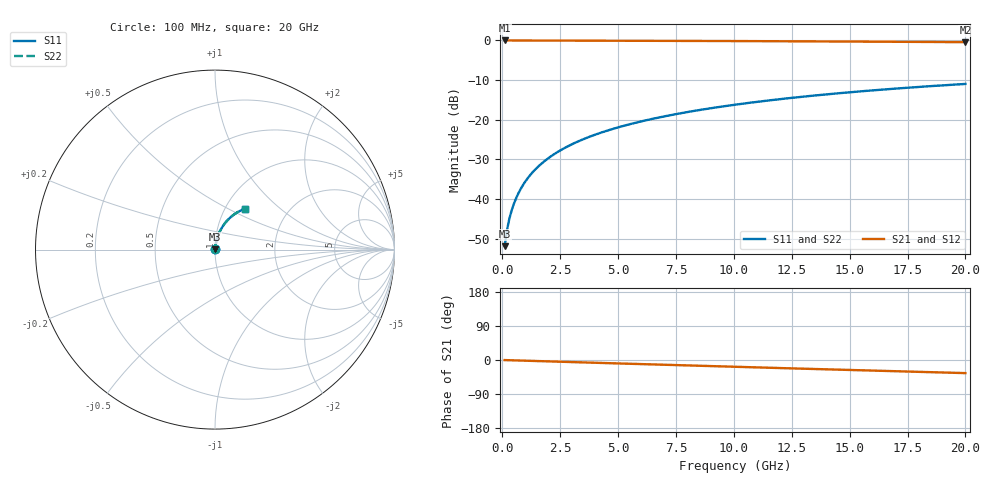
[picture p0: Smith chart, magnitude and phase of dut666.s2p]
! Touchstone file exported from HFSS 2026.1.0
!  File:  C:/ffzhzh/LocalFiles/Ansys_Project_Files/temp_train_TMRDL_666_1783009835_46388.aedt
!  Generated:  12:32:07 AM Jul  3, 2026
!  Design:  TMRDL
!  Project:  temp_train_TMRDL_666_1783009835_46388
! Variables:
!  h_bsmrdl = 2um
!  h_ox = 20um
!  h_rdl = 5um
!  h_sub = 80um
!  h_tmrdl = 4.71um
!  h_tsv = 80um
!  h_via = 3um
!  l_bsmrdl = 300um
!  l_sub = 918.51um
!  l_tmrdl = 518.51um
!  m_sub = 200um
!  pitch = 47.36um
!  r_tsv = 6um
!  s_tmrdl = 10um
!  w_bsmrdl = 18um
!  w_sub = 500um
!  w_tmrdl = 24.69um
!  x_tsv_center1 = 530.855um
!  x_tsv_center2 = 848.855um
!  x_tsv_center3 = 1392.055um
!  x_tsv_center4 = 1710.055um
!  x_tsv_center5 = 2253.255um
!  x_tsv_center6 = 2571.255um
# GHz S MA R 50.000000
! Terminal data exported
! Port[1] = TM_RDL1_1_T1
! Port[2] = TM_RDL1_1_T2
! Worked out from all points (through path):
!   200 points, 100 MHz to 20 GHz, reference 50 ohm
!   highest |S21| = -0.02 dB at 100 MHz (marker M1); lowest = -0.4 dB at 20 GHz (marker M2)
!   group delay of S21, straight-line fit = 4.8 ps
!   lowest |S11| = -51.9 dB at 100 MHz (marker M3), VSWR 1.01, Z = 50.2 + j0.184 ohm
!   |S11| at or under -10 dB: start of sweep to end of sweep
!   |S22| runs from -51.9 to -11.0 dB; largest |S21 - S12| = 2.1e-15
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0.1  0.002555 45.7  0.9982 -0.2  0.9982 -0.2  0.002555 45.7
! Gamma 0 0 0 0
! Port Impedance 50 0 50 0
0.2  0.004038 61.3  0.9981 -0.4  0.9981 -0.4  0.004038 61.3
0.3  0.005581 68.2  0.998 -0.6  0.998 -0.6  0.005581 68.2
0.4  0.007143 72.2  0.9979 -0.7  0.9979 -0.7  0.007143 72.2
0.5  0.008723 74.8  0.9978 -0.9  0.9978 -0.9  0.008723 74.8
0.6  0.01032 76.6  0.9978 -1.1  0.9978 -1.1  0.01032 76.7
0.8  0.01354 78.9  0.9977 -1.5  0.9977 -1.5  0.01354 78.9
1.1  0.0184 80.6  0.9975 -2.0  0.9975 -2.0  0.0184 80.6
1.5  0.0249 81.4  0.9972 -2.8  0.9972 -2.8  0.0249 81.4
1.8  0.02976 81.5  0.9969 -3.3  0.9969 -3.3  0.02976 81.5
2.1  0.03461 81.5  0.9966 -3.9  0.9966 -3.9  0.03461 81.5
2.7  0.04423 80.9  0.9959 -4.9  0.9959 -4.9  0.04423 81.0
3.5  0.0569 79.9  0.9947 -6.4  0.9947 -6.4  0.0569 79.9
4.2  0.06784 78.9  0.9936 -7.6  0.9936 -7.6  0.06784 78.9
5  0.08019 77.7  0.9922 -9.1  0.9922 -9.1  0.08019 77.7
5.9  0.09389 76.3  0.9905 -10.7  0.9905 -10.7  0.09389 76.3
6.8  0.1074 74.8  0.9887 -12.2  0.9887 -12.2  0.1074 74.8
8.3  0.1295 72.4  0.9854 -14.9  0.9854 -14.9  0.1295 72.4
10.1  0.1555 69.5  0.9811 -18.0  0.9811 -18.0  0.1555 69.5
13.4  0.2009 64.2  0.9719 -23.6  0.9719 -23.6  0.2009 64.2
16.7  0.2435 58.8  0.9615 -29.2  0.9615 -29.2  0.2435 58.9
20  0.2827 53.6  0.9502 -34.6  0.9502 -34.6  0.2827 53.6
